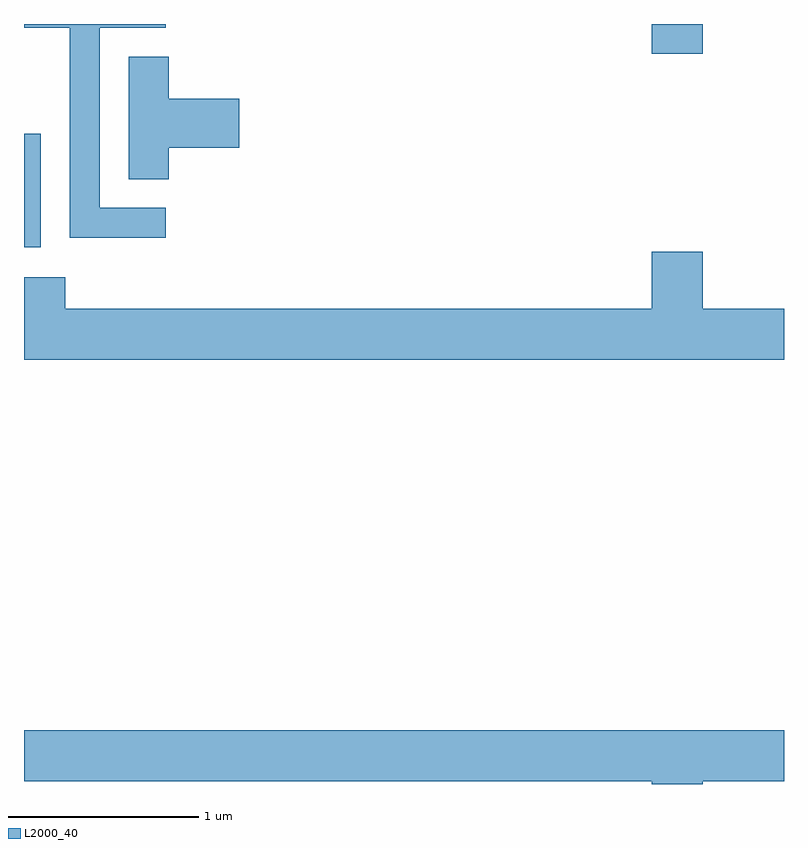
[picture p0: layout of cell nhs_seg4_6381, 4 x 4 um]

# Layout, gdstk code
import gdstk
lib = gdstk.Library(unit=1e-6, precision=1e-09)
def R(c, l, rs):  # rectangles x0, y0, x1, y1
    for r in rs: c.add(gdstk.rectangle(r[:2], r[2:], *l))
def P(c, l, *ps):  # polygons
    for p in ps: c.add(gdstk.Polygon(p, *l))
L2000_40 = (2000, 40)

nhs_seg4_6381 = lib.new_cell('nhs_seg4_6381')
R(nhs_seg4_6381, L2000_40, [(371.611,1370.806,371.699,1371.404), (374.916,1371.826,375.184,1371.982)])
P(nhs_seg4_6381, L2000_40, [(372.358,1371.014),(372.009,1371.014),(372.009,1371.961),(372.358,1371.961),(372.358,1371.982),(371.611,1371.982),(371.611,1371.961),(371.851,1371.961),(371.851,1370.856),(372.358,1370.856)],
  [(372.374,1371.331),(372.744,1371.331),(372.744,1371.589),(372.374,1371.589),(372.374,1371.809),(372.161,1371.809),(372.161,1371.166),(372.374,1371.166)],
  [(375.611,1370.484),(375.184,1370.484),(375.184,1370.784),(374.916,1370.784),(374.916,1370.484),(371.829,1370.484),(371.829,1370.649),(371.611,1370.649),(371.611,1370.216),(375.611,1370.216)],
  [(375.184,1367.996),(375.611,1367.996),(375.611,1368.264),(371.611,1368.264),(371.611,1367.996),(374.916,1367.996),(374.916,1367.982),(375.184,1367.982)])

lib.write_gds('nhs_seg4_6381.gds')
